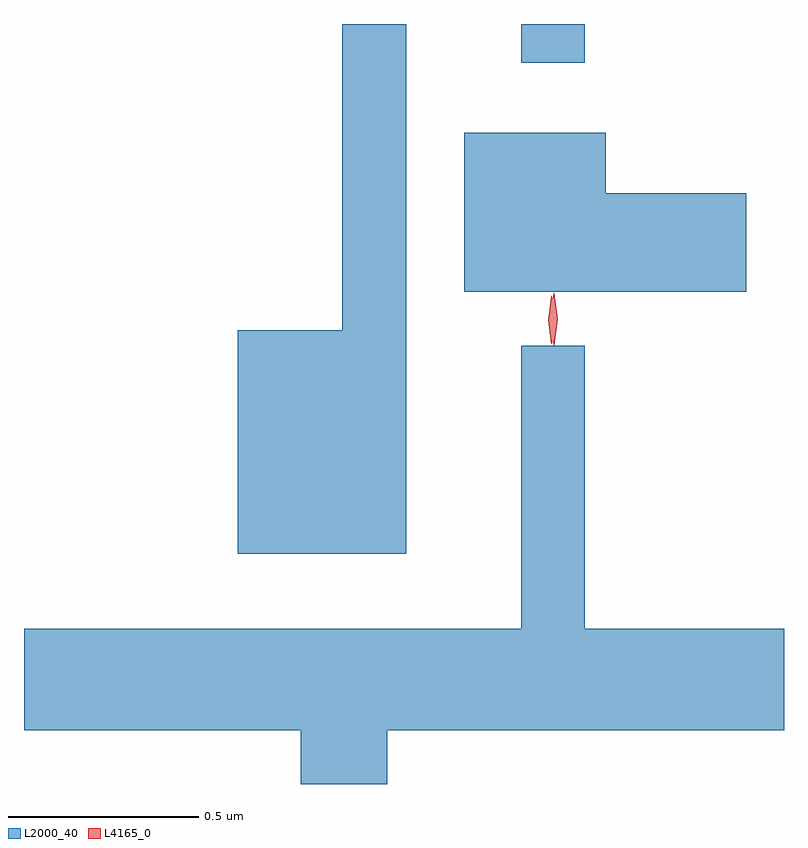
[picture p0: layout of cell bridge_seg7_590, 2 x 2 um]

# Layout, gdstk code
import gdstk
lib = gdstk.Library(unit=1e-6, precision=1e-09)
def R(c, l, rs):  # rectangles x0, y0, x1, y1
    for r in rs: c.add(gdstk.rectangle(r[:2], r[2:], *l))
def P(c, l, *ps):  # polygons
    for p in ps: c.add(gdstk.Polygon(p, *l))
L2000_40 = (2000, 40)
L4165_0 = (4165, 0)

bridge_seg7_590 = lib.new_cell('bridge_seg7_590')
R(bridge_seg7_590, L2000_40, [(991.531,1742.713,991.699,1742.815)])
P(bridge_seg7_590, L2000_40, [(991.229,1742.815),(991.061,1742.815),(991.061,1742.009),(990.786,1742.009),(990.786,1741.421),(991.229,1741.421)],
  [(992.124,1742.369),(991.754,1742.369),(991.754,1742.529),(991.381,1742.529),(991.381,1742.111),(992.124,1742.111)],
  [(991.179,1740.956),(992.223,1740.956),(992.223,1741.224),(991.699,1741.224),(991.699,1741.968),(991.531,1741.968),(991.531,1741.224),(990.223,1741.224),(990.223,1740.956),(990.951,1740.956),(990.951,1740.815),(991.179,1740.815)])
P(bridge_seg7_590, L4165_0, [(991.611,1741.973),(991.602,1742.036),(991.611,1742.099),(991.611,1742.1),(991.612,1742.099),(991.622,1742.036),(991.612,1741.973),(991.612,1741.973)],
  [(991.617,1741.97),(991.617,1741.97),(991.607,1742.038),(991.617,1742.106),(991.617,1742.106),(991.618,1742.106),(991.627,1742.038),(991.618,1741.97)])

lib.write_gds('bridge_seg7_590.gds')
